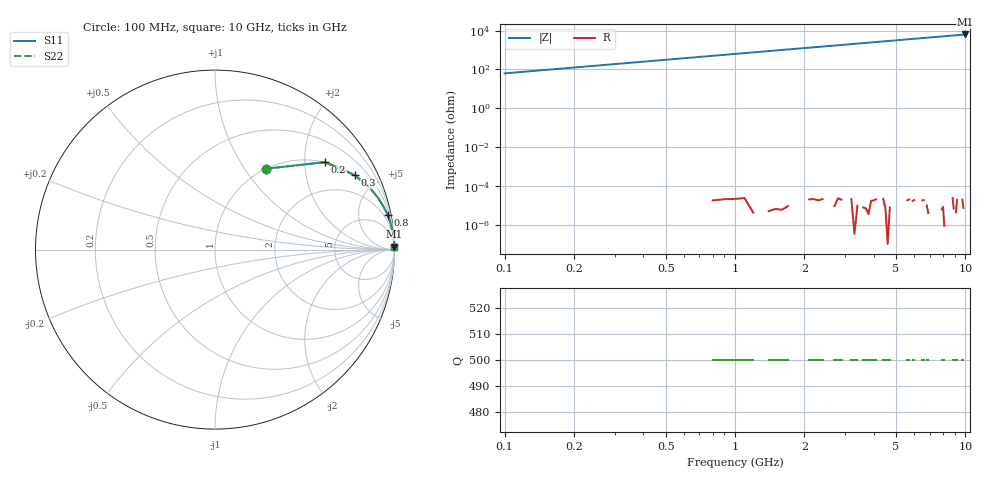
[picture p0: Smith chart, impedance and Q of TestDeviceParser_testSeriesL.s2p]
# MHz MA S R 50.0
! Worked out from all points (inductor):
!   100 points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, 100 MHz to 10 GHz, reference 50 ohm
!   read as one part in series: L = 100 nH near 100 MHz
!   highest |Z| = 6.28 kohm at 10 GHz (marker M1)
!   S11 on the Smith chart (normalised r, x): 100 MHz: 1.00, +1.26; 200 MHz: 1.00, +2.51; 300 MHz: 1.00, +3.77; 800 MHz: 1, +10; 10 GHz: open
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100  0.532 57.9  0.8467 -32.1  0.8467 -32.1  0.532 57.9
200  0.7825 38.5  0.6227 -51.5  0.6227 -51.5  0.7825 38.5
300  0.8834 27.9  0.4687 -62.1  0.4687 -62.1  0.8834 27.9
400  0.9292 21.7  0.3697 -68.3  0.3697 -68.3  0.9292 21.7
500  0.9529 17.7  0.3033 -72.3  0.3033 -72.3  0.9529 17.7
600  0.9666 14.9  0.2564 -75.1  0.2564 -75.1  0.9666 14.9
700  0.9751 12.8  0.2217 -77.2  0.2217 -77.2  0.9751 12.8
800  0.9808 11.3  0.1951 -78.7  0.1951 -78.7  0.9808 11.3
1000  0.9876 9.0  0.1572 -81.0  0.1572 -81.0  0.9876 9.0
1200  0.9913 7.6  0.1315 -82.4  0.1315 -82.4  0.9913 7.6
1500  0.9944 6.1  0.1055 -83.9  0.1055 -83.9  0.9944 6.1
1800  0.9961 5.1  0.08808 -84.9  0.08808 -84.9  0.9961 5.1
2100  0.9971 4.3  0.07557 -85.7  0.07557 -85.7  0.9971 4.3
2500  0.998 3.6  0.06353 -86.4  0.06353 -86.4  0.998 3.6
2900  0.9985 3.1  0.0548 -86.9  0.0548 -86.9  0.9985 3.1
3400  0.9989 2.7  0.04676 -87.3  0.04676 -87.3  0.9989 2.7
4200  0.9993 2.2  0.03787 -87.8  0.03787 -87.8  0.9993 2.2
5100  0.9995 1.8  0.03119 -88.2  0.03119 -88.2  0.9995 1.8
5900  0.9996 1.5  0.02697 -88.5  0.02697 -88.5  0.9996 1.5
6700  0.9997 1.4  0.02375 -88.6  0.02375 -88.6  0.9997 1.4
8400  0.9998 1.1  0.01894 -88.9  0.01894 -88.9  0.9998 1.1
10000  0.9999 0.9  0.01591 -89.1  0.01591 -89.1  0.9999 0.9
